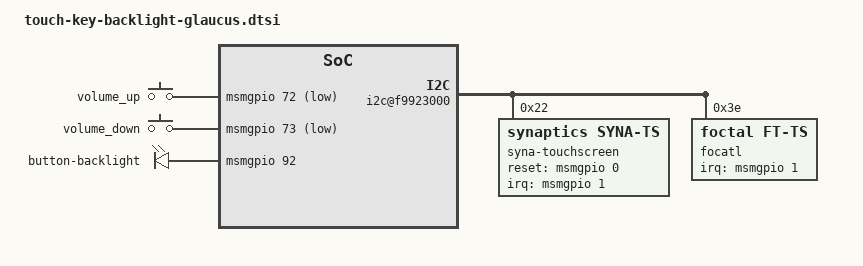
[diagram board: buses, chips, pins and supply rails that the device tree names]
//for touchscreen and key and keypad-backlight

&soc {

	i2c@f9923000{
		syna-touchscreen@22 {
			compatible = "synaptics,syna-ts";
			reg = <0x22>;
			interrupt-parent = <&msmgpio>;
			interrupts = <1 0x2>;
			synaptics,reset-gpio = <&msmgpio 0 0x00>;
			synaptics,irq-gpio = <&msmgpio 1 0x00>;
			synaptics,max_y = <155>;
			synaptics,panel-coords = <0  0 540 960>;
			synaptics,display-coords = <0 0 540 960>;
			synaptics,i2c-pull-up = <1>;
		};
		focatl@3e{
            compatible = "foctal,ft-ts";
            reg = <0x3e>;
            interrupt-parent = <&msmgpio>;
            interrupts = <1 0x2>;
			ft,max_x=<720>;
			ft,max_y=<1280>;
		};		
	};

	gpio_keys {
		compatible = "gpio-keys";
		input-name = "gpio-keys";

		vol_up {
			label = "volume_up";
			gpios = <&msmgpio 72 0x1>;
			linux,input-type = <1>;
			linux,code = <115>;
			gpio-key,wakeup;
			debounce-interval = <15>;
		};
		
		vol_down {
			label = "volume_down";
			gpios = <&msmgpio 73 0x1>;
			linux,input-type = <1>;
			linux,code = <114>;
			gpio-key,wakeup;
			debounce-interval = <15>;
		};	
	};
			
	leds-gpio {
		compatible = "gpio-leds";	
		button-backlight {
			gpios = <&msmgpio 92 0>;
		};
    }; 
	
};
